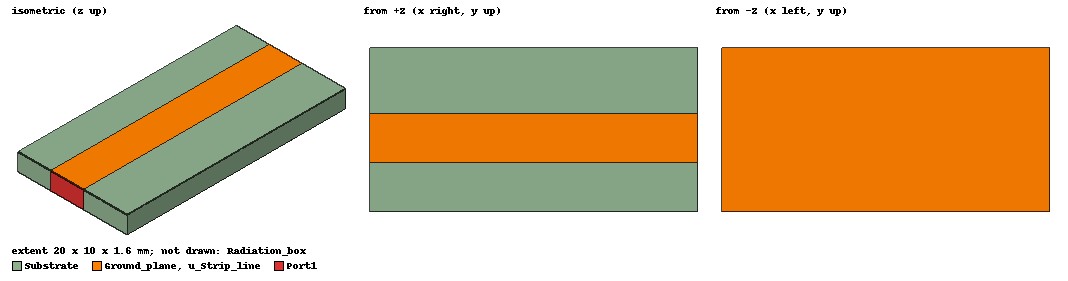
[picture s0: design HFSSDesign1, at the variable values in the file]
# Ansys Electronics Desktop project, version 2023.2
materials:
  vacuum: permittivity=1
  FR4_epoxy: permittivity=4.4 dielectric_loss_tangent=0.02
  air: permittivity=1.0006 permeability=1.0000004

design HFSSDesign1 (HFSS, HFSS Terminal Network, model units mm)
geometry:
  Substrate [FR4_epoxy] = box(corner=(0mm, 0mm, 0mm), size=(20mm, 10mm, 1.6mm))
  Ground_plane = rectangle(corner=(20mm, 10mm, 0mm), x_size=-20mm, y_size=-10mm)
  u_Strip_line = rectangle(corner=(0mm, 3mm, 1.6mm), x_size=20mm, y_size=3mm)
  Port1 = rectangle(corner=(20mm, 3mm, 1.6mm), y_size=3mm, z_size=-1.6mm)
  Port2 = rectangle(corner=(0mm, 6mm, 1.6mm), y_size=-3mm, z_size=-1.6mm)
  Radiation_box [air] = box(corner=(22mm, -4mm, -3mm), size=(-26mm, 18mm, 8mm))
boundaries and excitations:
  PerfE1: Perfect E Objects=u_Strip_line
  Rad1: Radiation Objects=Radiation_box
  PerfE2: Perfect E Objects=Ground_plane
  1: Lumped Port Objects=Port1 LumpedPortType=Modal Modes{Mode1{IntLine{(20, 4.5, 1.6) -> (20, 4.5, 0)} CharImp=Zpi RenormImp=50ohm}} Impedance=50ohm
  2: Lumped Port Objects=Port2 LumpedPortType=Modal Modes{Mode1{IntLine{(0, 4.5, 1.6) -> (0, 4.5, 0)} CharImp=Zpi RenormImp=50ohm}} Impedance=50ohm
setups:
  Setup1: HfssDriven Frequency=5GHz MaxDeltaS=0.02 MaximumPasses=6 MinimumPasses=1 MinimumConvergedPasses=1 PercentRefinement=30 BasisOrder=1 PortAccuracy=2 DrivenSolverType="Direct Solver"
    sweep Sweep: 1GHz to 20GHz, 401 points; Type=Fast SaveFields
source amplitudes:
  1:1: 1V 0deg
  2:1: 0V 0deg
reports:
  S Parameter Plot 1: dB(S(1,1)), dB(S(2,1)), dB(S(1,2)), dB(S(2,2)) vs Freq on Setup1 : Sweep
